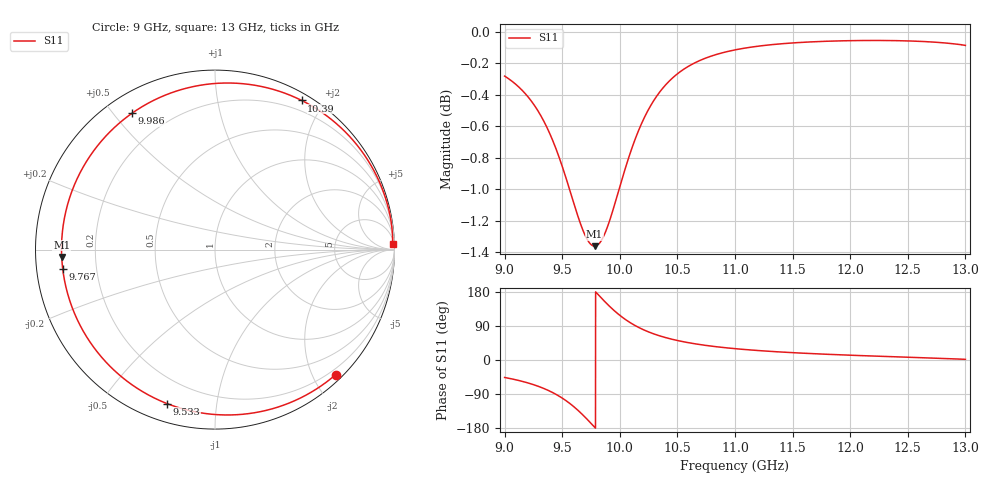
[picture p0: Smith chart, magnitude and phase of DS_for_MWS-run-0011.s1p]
! TOUCHSTONE file generated by CST DESIGN STUDIO
! Date and time: Tue Feb  4 18:10:28 2025
! Project name: C:\Work\MatlabApps\UnitCellOptimizationMatlab\CST\unitcell.cst
! Tree item: Tasks\Sweep1\SPara1\S-Parameters
! Header version: 2024
! Port assignment regex: !\s*Touchstone port\s*([0-9]+)\s*=\s*(CST MWS port|CST DES external port|CST DES block port)\s*(.+)\s* \(\"(.*)\"\)(\s*mode\s*([0-9]+))?.*
! Touchstone port assignment:
! Touchstone port 1 = CST DES external port 1 ("")
# GHz S MA R 50
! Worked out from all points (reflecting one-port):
!   4001 points, 9 GHz to 13 GHz, reference 50 ohm
!   lowest |S11| = -1.4 dB at 9.781 GHz (marker M1), VSWR 12.80, Z = 3.91 - j1.2 ohm
!   phase of S11 starts at -46 deg and turns -312 deg over the sweep
!   S11 on the Smith chart (normalised r, x): 9 GHz: 0.11, -2.35; 9.533 GHz: 0.08, -0.73; 9.767 GHz: 0.08, -0.06; 9.986 GHz: 0.08, +0.56; 10.39 GHz: 0.08, +1.73; 13 GHz: 19, +59
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9  0.9681 -46.1
9.143  0.9588 -55.6
9.274  0.9458 -67.4
9.388  0.929 -81.6
9.448  0.9177 -91.0
9.5  0.9064 -100.5
9.533  0.8987 -107.3
9.591  0.8846 -120.7
9.646  0.8718 -135.3
9.711  0.8601 -154.7
9.767  0.8553 -172.7
9.781  0.8551 -177.2
9.825  0.8571 168.4
9.871  0.8631 153.7
9.929  0.8751 136.5
9.986  0.8893 121.3
10  0.8929 117.9
10.07  0.9104 102.5
10.151  0.9281 87.9
10.265  0.947 72.3
10.389  0.9611 59.8
10.5  0.9697 51.5
10.717  0.9799 39.8
11  0.9868 29.9
11.5  0.9918 19.4
12  0.9934 12.6
12.5  0.9932 7.3
13  0.99 1.8
